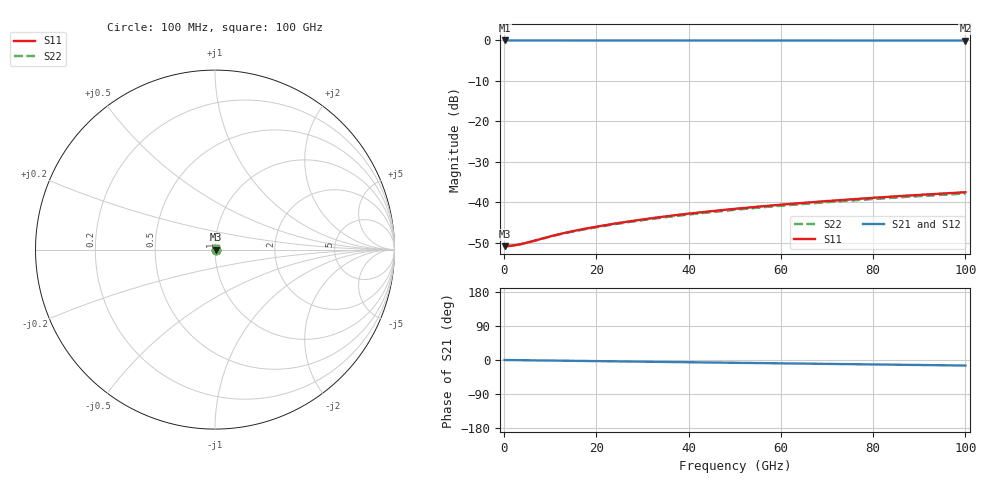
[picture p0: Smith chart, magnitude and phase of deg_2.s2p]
#  Hz  S  RI  R  50
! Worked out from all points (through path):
!   1000 points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, 100 MHz to 100 GHz, reference 50 ohm
!   highest |S21| = -0.02 dB at 100 MHz (marker M1); lowest = -0.1 dB at 100 GHz (marker M2)
!   group delay of S21, straight-line fit = 405 fs
!   lowest |S11| = -50.9 dB at 100 MHz (marker M3), VSWR 1.01, Z = 50.3 + j0.00212 ohm
!   |S11| at or under -10 dB: start of sweep to end of sweep
!   |S22| runs from -50.9 to -37.9 dB; largest |S21 - S12| = 5.6e-05
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1e8  0.00286 2.1e-05  0.9971 -0.000265  0.9971 -0.000265  0.00286 2.05e-05
9e8  0.00287 0.000189  0.9971 -0.00239  0.9971 -0.00238  0.00286 0.000185
1.8e9  0.00288 0.000377  0.9971 -0.00477  0.9971 -0.00477  0.00288 0.000367
2.7e9  0.0029 0.000561  0.9971 -0.00715  0.9971 -0.00715  0.0029 0.000547
3.6e9  0.00293 0.000742  0.997 -0.00952  0.997 -0.00952  0.00293 0.000723
5.2e9  0.00301 0.00105  0.9969 -0.0137  0.9969 -0.0137  0.00301 0.00102
9.1e9  0.00324 0.00171  0.9965 -0.0238  0.9965 -0.0238  0.00324 0.00166
1.14e10  0.00338 0.00205  0.9962 -0.0297  0.9962 -0.0297  0.00338 0.00198
1.4e10  0.00354 0.0024  0.9959 -0.0364  0.9959 -0.0364  0.00354 0.00232
1.68e10  0.0037 0.00275  0.9954 -0.0435  0.9954 -0.0435  0.00369 0.00265
2.05e10  0.00389 0.00319  0.9948 -0.0529  0.9948 -0.0529  0.00389 0.00308
2.47e10  0.0041 0.00368  0.9941 -0.0636  0.994 -0.0636  0.0041 0.00354
2.9e10  0.00432 0.00417  0.9931 -0.0745  0.9931 -0.0745  0.00431 0.004
3.34e10  0.00454 0.00464  0.9921 -0.0856  0.9921 -0.0856  0.00453 0.00445
4.11e10  0.00492 0.00543  0.99 -0.105  0.99 -0.105  0.00491 0.0052
5.01e10  0.00536 0.00631  0.9871 -0.1276  0.9871 -0.1276  0.00535 0.00602
5.81e10  0.00576 0.00706  0.9841 -0.1475  0.984 -0.1475  0.00574 0.00673
6.67e10  0.00619 0.00783  0.9804 -0.1689  0.9804 -0.1689  0.00617 0.00745
7.52e10  0.00662 0.00858  0.9763 -0.19  0.9763 -0.19  0.0066 0.00815
8.34e10  0.00704 0.00928  0.972 -0.2102  0.972 -0.2102  0.00702 0.00881
9.13e10  0.00746 0.00993  0.9675 -0.2296  0.9675 -0.2296  0.00742 0.00941
1e11  0.00793 0.0106  0.962 -0.2508  0.962 -0.2508  0.0079 0.0101
